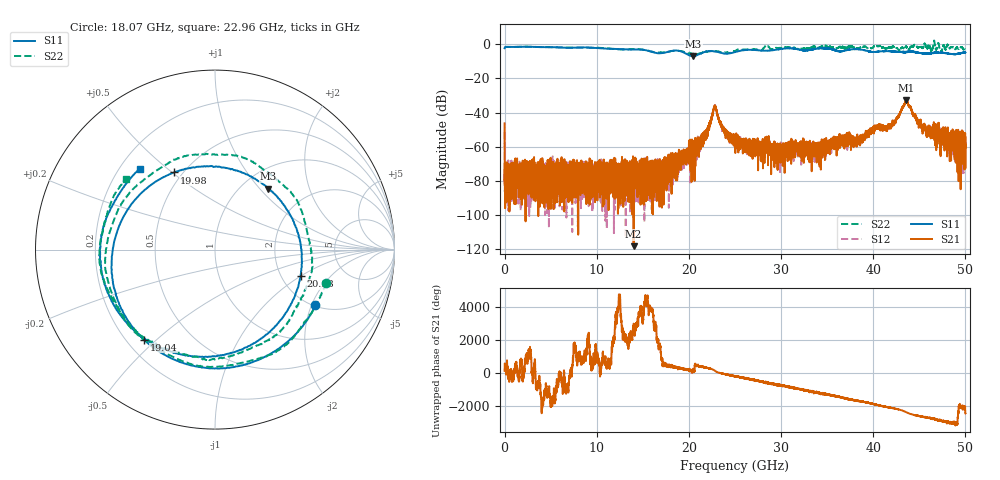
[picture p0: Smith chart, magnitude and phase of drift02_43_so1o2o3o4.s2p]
!Created with skrf (http://scikit-rf.org).
# Hz S RI R 50.0
!freq ReS11 ImS11 ReS21 ImS21 ReS12 ImS12 ReS22 ImS22
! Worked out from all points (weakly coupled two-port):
!   10001 points, 300 kHz to 50 GHz, reference 50 ohm
!   highest |S21| = -32.78 dB at 43.58 GHz (marker M1); lowest = -118.5 dB at 14 GHz (marker M2)
!   lowest |S11| = -6.9 dB at 20.48 GHz (marker M3), VSWR 2.64, Z = 65.5 + j55.7 ohm
!   |S11| at or under -10 dB: nowhere
!   |S22| runs from -5.7 to 2.4 dB; largest |S21 - S12| = 0.0049
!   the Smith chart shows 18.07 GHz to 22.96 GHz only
!   S11 on the Smith chart (normalised r, x): 18.07 GHz: 2.05, -2.14; 19.04 GHz: 0.27, -0.46; 19.98 GHz: 0.45, +0.51; 20.98 GHz: 2.54, -1.00; 22.96 GHz: 0.28, +0.41
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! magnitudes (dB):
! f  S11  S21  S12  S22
! 300 kHz  -2.1  -46.4  -51.4  -2.1
! 255.3 MHz  -1.4  -72.1  -80.9  -1.4
! 345.3 MHz  -1.4  -72.2  -93.9  -1.4
! 8.335 GHz  -1.7  -71.4  -76.0  -1.9
! 14 GHz  -2.9  -118.5  -84.5  -2.7
! 16.67 GHz  -5.2  -75.4  -80.2  -4.7
! 18.07 GHz  -3.9  -69.8  -69.1  -3.8
! 19.04 GHz  -3.9  -66.7  -65.8  -3.9
! 19.98 GHz  -6.3  -63.1  -63.9  -5.2
! 20.48 GHz  -6.9  -60.5  -60.7  -5.5
! 20.98 GHz  -6.0  -64.5  -59.7  -5.6
! 22.7 GHz  -4.0  -37.9  -37.5  -3.9
! 22.96 GHz  -4.2  -37.9  -38.2  -4.0
! 23.84 GHz  -5.4  -50.1  -50.4  -4.6
! 25 GHz  -4.5  -54.7  -56.1  -3.9
! 29.75 GHz  -2.9  -64.3  -65.0  -2.0
! 33.34 GHz  -3.0  -62.4  -60.8  -1.5
! 38.07 GHz  -2.8  -56.2  -57.1  -2.2
! 41.67 GHz  -3.9  -48.9  -48.4  -1.9
! 43.58 GHz  -4.6  -32.8  -33.2  -1.3
! 45.65 GHz  -5.3  -50.4  -49.1  0.0
! 50 GHz  -4.7  -58.8  -58.0  -2.7
